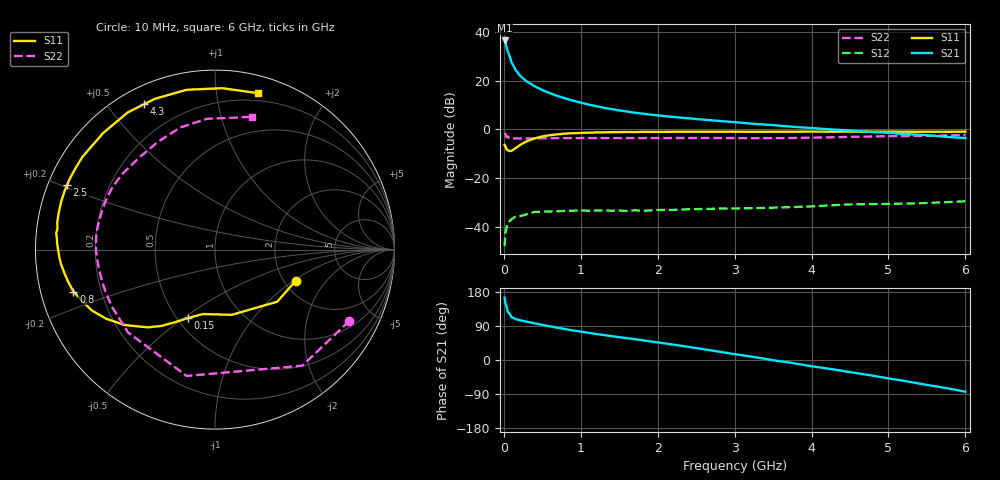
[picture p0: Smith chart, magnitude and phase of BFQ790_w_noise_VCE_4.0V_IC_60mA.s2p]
! Infineon Technologies  Discrete & RF Semiconductors
! BFQ790
! VCE =  4.0 V,  IC =  60 mA
! Common Emitter S-Parameters:  May 2015
# GHz  S  MA  R  50
!  f  S11  S21  S12  S22
! GHz  MAG  ANG  MAG  ANG  MAG  ANG  MAG  ANG
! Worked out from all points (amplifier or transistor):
!   77 points, 10 MHz to 6 GHz, reference 50 ohm
!   highest |S21| = 36.6 dB at 10 MHz (marker M1)
!   |S21| within 3 dB of that: start of sweep to 37.76 MHz
!   unconditionally stable (mu >= 1): 1.436 GHz to end of sweep
!   at 130 MHz: K = 0.72, MSG = 31.1 dB, |S12| = -36.3 dB
!   at 2.2 GHz: K = 1.18, MAG = 16.5 dB, |S12| = -33.0 dB
!   at 6 GHz: K = 1.44, MAG = 9.0 dB, |S12| = -29.5 dB
!   lowest NFmin = 2.33 dB at 1.5 GHz
!   S11 on the Smith chart (normalised r, x): 10 MHz: 2.32, -1.04; 150 MHz: 0.56, -0.52; 800 MHz: 0.10, -0.14; 2.5 GHz: 0.06, +0.21; 4.3 GHz: 0.07, +0.62; 6 GHz: 0.14, +1.30
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0.01  0.4827 -20.9  67.52 164.4  0.004 58.3  0.8472 -28.0
0.02  0.4524 -39.9  61.09 150.8  0.0075 52.6  0.8093 -53.0
0.05  0.3753 -75.6  40.43 126.9  0.0121 35.6  0.7215 -102.6
0.1  0.3654 -100.7  23.82 113.0  0.0143 22.5  0.6691 -136.4
0.15  0.4106 -111.7  16.95 108.1  0.016 22.2  0.6565 -150.7
0.2  0.4657 -119.3  13.37 105.2  0.0164 20.9  0.654 -158.5
0.25  0.5214 -125.3  11.19 103.1  0.0171 18.3  0.6532 -163.5
0.3  0.5724 -130.8  9.658 101.0  0.0182 15.5  0.6534 -167.1
0.4  0.6562 -140.2  7.74 96.7  0.0202 13.5  0.6563 -172.3
0.5  0.7184 -147.6  6.465 92.7  0.0204 9.7  0.6594 -176.0
0.6  0.7656 -153.7  5.57 88.8  0.0207 7.9  0.6621 -179.0
0.7  0.7939 -159.0  4.865 85.0  0.0208 6.9  0.6641 178.5
0.8  0.8223 -163.5  4.347 81.5  0.0213 3.4  0.6643 176.6
1.1  0.8613 -174.5  3.257 71.7  0.0213 1.0  0.6666 171.5
1.5  0.8828 176.0  2.465 60.3  0.0216 -3.4  0.6647 166.3
2.1  0.8957 164.7  1.877 43.6  0.0222 -7.3  0.6659 158.2
2.5  0.8992 156.4  1.642 31.5  0.0231 -12.0  0.6678 151.3
3.1  0.8983 142.8  1.369 12.6  0.024 -17.7  0.6639 138.5
4.1  0.9029 120.3  1.044 -19.3  0.0268 -27.3  0.683 115.2
4.3  0.901 116.0  0.994 -25.4  0.0278 -29.5  0.6929 110.4
5.1  0.9001 97.6  0.833 -51.7  0.0298 -41.6  0.7302 91.2
6  0.9041 74.6  0.667 -83.7  0.0335 -58.0  0.7678 74.6
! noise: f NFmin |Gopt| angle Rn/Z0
0.45  3.2  0.34  120  0.36
0.9  2.39  0.48  159  0.14
1.5  2.33  0.63  -178  0.07
1.8  2.52  0.66  -172  0.07
2.6  3.11  0.72  -154  0.19
3.5  3.88  0.83  -137  0.49
